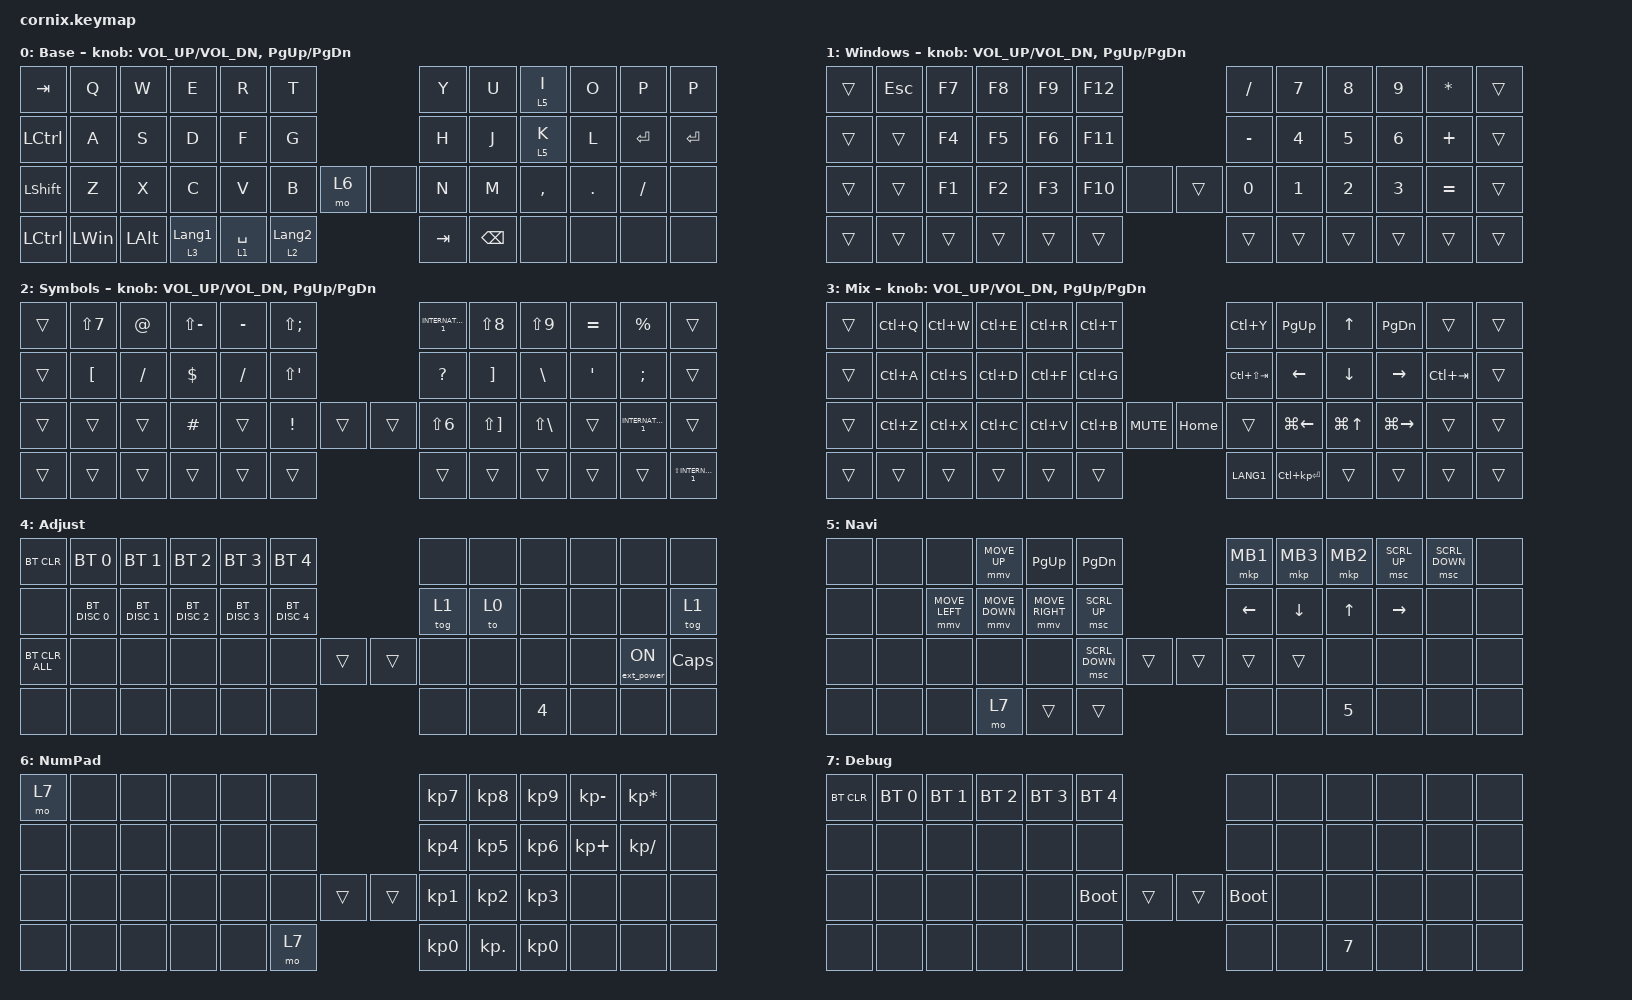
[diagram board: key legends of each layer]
/*
 * Copyright (c) 2020 The ZMK Contributors
 *
 * SPDX-License-Identifier: MIT
 */

#include "includes/cornix54.h"

// tap windows for ctl alt and gui

#define HM_TAPPING_TERM 250
#define HM_TAPPING_REPEAT 210

// quick tapping for shift

#define HM_TAPPING_TERM_FAST 200
#define HM_PRIOR_IDLE 70
#define BASE 0
#define WIN 1
#define LOWER 2
#define RAISE 3
#define ADJUST 4
#define NAVI   5
#define NUM    6
#define DEBUG  7

// https://github.com/urob/zmk-config/tree/main#timeless-homerow-mods

#define KEYS_L LT0 LT1 LT2 LT3 LT4 LT5 LM0 LM1 LM2 LM3 LM4 LM5 LB0 LB1 LB2 LB3 LB4 LB5  // left hand
#define KEYS_R RT0 RT1 RT2 RT3 RT4 RT5 RM0 RM1 RM2 RM3 RM4 RM5 RB0 RB1 RB2 RB3 RB4 RB5  // right hand
#define THUMBS LH1 LH0 RH0 RH1
#define KEYS_T LH1 LH0 RH0 RH1
#define ZMK_POINTING_DEFAULT_SCRL_VAL 15

#include <behaviors.dtsi>
#include <dt-bindings/zmk/bt.h>
#include <dt-bindings/zmk/ext_power.h>
#include <dt-bindings/zmk/keys.h>
#include <dt-bindings/zmk/pointing.h>

/ {
    // Activate ADJUST layer by pressing raise and lower

    behaviors {
        hm_l: homerow_mods_left {
            compatible = "zmk,behavior-hold-tap";
            #binding-cells = <2>;
            bindings = <&kp>, <&kp>;

            flavor = "balanced";
            tapping-term-ms = <HM_TAPPING_TERM>;
            quick-tap-ms = <200>;                // repeat on tap-into-hold
            require-prior-idle-ms = <HM_PRIOR_IDLE>;
            hold-trigger-key-positions = <KEYS_R KEYS_T>;
            hold-trigger-on-release;
        };

        hm_r: homerow_mods_right {
            compatible = "zmk,behavior-hold-tap";
            #binding-cells = <2>;
            bindings = <&kp>, <&kp>;

            flavor = "balanced";
            tapping-term-ms = <HM_TAPPING_TERM>;
            quick-tap-ms = <200>;
            require-prior-idle-ms = <HM_PRIOR_IDLE>;
            hold-trigger-key-positions = <KEYS_L KEYS_T>;
            hold-trigger-on-release;
        };

        // Positional Homerow mods for shift
        // Use faster tapping term and disable some features that may
        // cause false negatives.

        hm_shift_l: hm_shift_l {
            compatible = "zmk,behavior-hold-tap";
            #binding-cells = <2>;
            bindings = <&kp>, <&kp>;

            //flavor = "balanced";

            flavor = "balanced";
            tapping-term-ms = <HM_TAPPING_TERM_FAST>;
            quick-tap-ms = <200>;
            require-prior-idle-ms = <HM_PRIOR_IDLE>;
            hold-trigger-key-positions = <KEYS_R KEYS_T>;
            hold-trigger-on-release;
        };

        hm_shift_r: hm_shift_r {
            compatible = "zmk,behavior-hold-tap";
            #binding-cells = <2>;
            bindings = <&kp>, <&kp>;

            flavor = "balanced";
            tapping-term-ms = <HM_TAPPING_TERM_FAST>;
            quick-tap-ms = <200>;
            require-prior-idle-ms = <HM_PRIOR_IDLE>;
            hold-trigger-key-positions = <KEYS_L KEYS_T>;

            // for quick tapping; shift+~

            hold-trigger-on-release;
        };

        /*
         * Non-Positional Homerow Mods
         * Used for &mm_grescm_gui behavior on left hand.
         *
         * Usage: &hm LSHFT T
         * Tap: T
         * Tap-Tap-Hold: Repeat T
         * Hold: LSHIFT
         */

        hm: homerow_mods {
            compatible = "zmk,behavior-hold-tap";
            #binding-cells = <2>;
            bindings = <&kp>, <&kp>;

            flavor = "balanced";
            tapping-term-ms = <HM_TAPPING_TERM>;
            quick-tap-ms = <200>;
        };

        lt: layer_tap {
            compatible = "zmk,behavior-hold-tap";
            #binding-cells = <2>;
            bindings = <&mo>, <&kp>;

            flavor = "hold-preferred";
            tapping-term-ms = <HM_TAPPING_TERM>;
            quick-tap-ms = <200>;
        };
    };

    conditional_layers {
        compatible = "zmk,conditional-layers";

        adjust_layer {
            if-layers = <3 2>;
            then-layer = <4>;
        };
    };

    combos {
        compatible = "zmk,combos";

        cb_ltm {
            bindings = <&kp ESC>;
            key-positions = <2 4>;
            layers = <0 1>;
        };

        cb_lm {
            bindings = <&kp TAB>;
            key-positions = <14 16>;
            layers = <0 1>;
        };

        cb_enter {
            bindings = <&kp RET>;
            key-positions = <21 19>;
            layers = <0 1>;
        };

        layer3 {
            bindings = <&kp N3>;
            key-positions = <5 6>;
        };

        layer4 {
            bindings = <&kp N4>;
            key-positions = <5 6>;
        };
    };

    keymap {
        compatible = "zmk,keymap";

        default_layer {
            display-name = "Base";

            // ------------------------------------------------------------------------------------------------------------
            // |   `   |  1  |  2  |  3   |  4   |  5   |                   |  6   |  7    |  8    |  9   |   0   |       |
            // |  ESC  |  Q  |  W  |  E   |  R   |  T   |                   |  Y   |  U    |  I    |  O   |   P   | BKSPC |
            // |  TAB  |  A  |  S  |  D   |  F   |  G   |                   |  H   |  J    |  K    |  L   |   ;   |   '   |
            // | SHIFT |  Z  |  X  |  C   |  V   |  B   |  MUTE  |  |       |  N   |  M    |  ,    |  .   |   /   | SHIFT |
            //               | GUI | ALT  | CTRL | LOWER|  ENTER |  | SPACE | RAISE| CTRL  | ALT   | GUI  |

            bindings = <
&kp TAB    &kp Q         &kp W         &kp E             &kp R        &kp T                           &kp Y    &kp U          &lt 5 I    &kp O    &kp P      &kp P
&kp LCTRL  &kp A         &kp S         &kp D             &kp F        &kp G                           &kp H    &kp J          &lt 5 K    &kp L    &kp ENTER  &kp ENTER
&kp LSHFT  &kp Z         &kp X         &kp C             &kp V        &kp B             &mo 6  &none  &kp N    &kp M          &kp COMMA  &kp DOT  &kp SLASH  &none
&kp LCTRL  &kp LEFT_WIN  &kp LEFT_ALT  &lt 3 LANGUAGE_1  &lt 1 SPACE  &lt 2 LANGUAGE_2                &kp TAB  &kp BACKSPACE  &none      &none    &none      &none
            >;

            sensor-bindings = <&inc_dec_kp C_VOL_UP C_VOL_DN &inc_dec_kp PG_UP PG_DN>;
        };

        FUNCTION {
            display-name = "Windows";

            // ------------------------------------------------------------------------------------------------------------
            // |   `   |  1  |  2  |  3   |  4   |  5   |                   |  6   |  7    |  8    |  9   |   0   |       |
            // |  ESC  |  Q  |  W  |  E   |  R   |  T   |                   |  Y   |  U    |  I    |  O   |   P   | BKSPC |
            // |  TAB  |  A  |  S  |  D   |  F   |  G   |                   |  H   |  J    |  K    |  L   |   ;   |   '   |
            // | SHIFT |  Z  |  X  |  C   |  V   |  B   |  MUTE  |  |       |  N   |  M    |  ,    |  .   |   /   | SHIFT |
            //               | GUI | ALT  | CTRL | LOWER|  ENTER |  | SPACE | RAISE| CTRL  | ALT   | GUI  |

            bindings = <
&trans  &kp ESC  &kp F7  &kp F8  &kp F9  &kp F12                 &kp SLASH  &kp N7        &kp N8        &kp N9        &kp ASTRK  &trans
&trans  &trans   &kp F4  &kp F5  &kp F6  &kp F11                 &kp MINUS  &kp NUMBER_4  &kp N5        &kp NUMBER_6  &kp PLUS   &trans
&trans  &trans   &kp F1  &kp F2  &kp F3  &kp F10  &none  &trans  &kp N0     &kp NUMBER_1  &kp NUMBER_2  &kp NUMBER_3  &kp EQUAL  &trans
&trans  &trans   &trans  &trans  &trans  &trans                  &trans     &trans        &trans        &trans        &trans     &trans
            >;

            sensor-bindings = <&inc_dec_kp C_VOL_UP C_VOL_DN &inc_dec_kp PG_UP PG_DN>;
        };

        NUM {
            display-name = "Symbols";

            // TODO: Some binds are waiting for shifted keycode support.
            // -------------------------------
            // |       |  F1 |  F2 |  F3  |  F4  |  F5  |                   |  F6  |  F7   |  F8   |  F9  |  F10  |  F11  |
            // |   `   |  1  |  2  |  3   |  4   |  5   |                   |  6   |  7    |  8    |  9   |   0   |  F12  |
            // |       |  !  |  @  |  #   |  $   |  %   |                   |  ^   |  &    |  *    |  (   |   )   |   |   |
            // |       |  =  |  -  |  +   |  {   |  }   |        |  |       |  [   |  ]    |  ;    |  :   |   \   |       |
            //               |     |      |      |      |        |  |       |      |       |       |      |

            bindings = <
&trans  &kp LS(N7)  &kp AT     &kp LS(MINUS)  &kp MINUS  &kp LS(SEMICOLON)                  &kp INTERNATIONAL_1  &kp LS(NUMBER_8)  &kp LS(N9)         &kp EQUAL  &kp PERCENT          &trans
&trans  &kp LBKT    &kp SLASH  &kp DOLLAR     &kp SLASH  &kp LS(SQT)                        &kp QUESTION         &kp RBKT          &kp BACKSLASH      &kp SQT    &kp SEMICOLON        &trans
&trans  &trans      &trans     &kp HASH       &trans     &kp EXCL           &trans  &trans  &kp LS(N6)           &kp LS(RBKT)      &kp LS(BACKSLASH)  &trans     &kp INTERNATIONAL_1  &trans
&trans  &trans      &trans     &trans         &trans     &trans                             &trans               &trans            &trans             &trans     &trans               &kp LS(INTERNATIONAL_1)
            >;

            sensor-bindings = <&inc_dec_kp C_VOL_UP C_VOL_DN &inc_dec_kp PG_UP PG_DN>;
        };

        ARROW {
            display-name = "Mix";

            // ------------------------------------------------------------------------------------------------------------
            // | BTCLR | BT1  | BT2  |  BT3  |  BT4  |  BT5 |                |      |      |       |      |       |       |
            // |       | INS  | PSCR | GUI   |       |      |                | PGUP |      |   ^   |      |       |       |
            // |       | ALT  | CTRL | SHIFT |       | CAPS |                | PGDN |   <- |   v   |  ->  |  DEL  | BKSPC |
            // |       | UNDO | CUT  | COPY  | PASTE |      |      |  |      |      |      |       |      |       |       |
            //                |      |       |       |      |      |  |      |      |      |       |      |

            bindings = <
&trans     &kp LC(Q)  &kp LC(W)  &kp LC(E)  &kp LC(R)  &kp LC(T)                     &kp LC(Y)         &kp PAGE_UP       &kp UP_ARROW    &kp PAGE_DOWN  &trans       &trans
&trans     &kp LC(A)  &kp LC(S)  &kp LC(D)  &kp LC(F)  &kp LC(G)                     &kp LC(LS(TAB))   &kp LEFT_ARROW    &kp DOWN_ARROW  &kp RIGHT      &kp LC(TAB)  &trans 
&trans     &kp LC(Z)  &kp LC(X)  &kp LC(C)  &kp LC(V)  &kp LC(B)  &kp C_MUTE  &kp HOME  &trans  &kp LG(LEFT)      &kp LG(UP_ARROW)  &kp LG(RIGHT)   &trans         &trans       &trans
&trans     &trans     &trans     &trans     &trans     &kp LANG1                     &kp LC(KP_ENTER)  &trans            &trans          &trans         &trans
            >;

            sensor-bindings = <&inc_dec_kp C_VOL_UP C_VOL_DN &inc_dec_kp PG_UP PG_DN>;
        };

        Adjust_layer {
            display-name = "Adjust";

            // ----------------------------------------------------------------------------------------------------------------------------
            // | BTCLR  |  BT1    |  BT2    |   BT3   |   BT4   |   BT5   |                  |      |      |       |      |       |       |
            // | moDEBUG| RGB_HUD | RGB_HUI | RGB_SAD | RGB_SAI | RGB_EFF |                  |      |      |       |      |       |       |
            // | EXTPWR | RGB_BRD | RGB_BRI |         |         |         |                  |      |      |       |      |       |       |
            // |        |         |         |         |         |         | RGB_TOG | |      |      |      |       |      |       |       |
            //                    |         |         |         |         |         | |      |      |      |       |      |

            bindings = <
&bt BT_CLR      &bt BT_SEL 0   &bt BT_SEL 1   &bt BT_SEL 2   &bt BT_SEL 3   &bt BT_SEL 4                   &none   &none  &none   &none  &none             &none
&none           &bt BT_DISC 0  &bt BT_DISC 1  &bt BT_DISC 2  &bt BT_DISC 3  &bt BT_DISC 4                  &tog 1  &to 0  &none   &none  &none             &tog 1
&bt BT_CLR_ALL  &none          &none          &none          &none          &none          &trans  &trans  &none   &none  &none   &none  &ext_power EP_ON  &kp CAPSLOCK
&none           &none          &none          &none          &none          &none                          &none   &none  &kp N4  &none  &none             &none
            >;
        };

        Navi_layer {
            display-name = "Navi";
            bindings = <
&none  &none  &none           &mmv MOVE_UP    &kp PAGE_UP      &kp PAGE_DOWN                   &mkp MB1  &mkp MB3  &mkp MB2  &msc SCRL_UP  &msc SCRL_DOWN  &none
&none  &none  &mmv MOVE_LEFT  &mmv MOVE_DOWN  &mmv MOVE_RIGHT  &msc SCRL_UP                    &kp LEFT  &kp DOWN  &kp UP    &kp RIGHT     &none           &none
&none  &none  &none           &none           &none            &msc SCRL_DOWN  &trans  &trans  &trans    &trans    &none     &none         &none           &none
&none  &none  &none           &mo 7           &trans           &trans                          &none     &none     &kp N5    &none         &none           &none
            >;
        };

        KeyPad_layer {
            display-name = "NumPad";
            bindings = <
&mo 7  &none  &none  &none  &none  &none                  &kp KP_N7        &kp KP_N8        &kp KP_N9        &kp KP_MINUS  &kp KP_MULTIPLY  &none
&none  &none  &none  &none  &none  &none                  &kp KP_NUMBER_4  &kp KP_NUMBER_5  &kp KP_N6        &kp KP_PLUS   &kp KP_DIVIDE    &none
&none  &none  &none  &none  &none  &none  &trans  &trans  &kp KP_NUMBER_1  &kp KP_NUMBER_2  &kp KP_N3        &none         &none            &none
&none  &none  &none  &none  &none  &mo 7                  &kp KP_N0        &kp KP_DOT       &kp KP_NUMBER_0  &none         &none            &none
            >;
        };

        Debug_layer {
            display-name = "Debug";

            // ----------------------------------------------------------------------------------------------------------------------------
            // | BTCLR  |  BT1    |  BT2    |   BT3   |   BT4   |   BT5   |                  |      |      |       |      |       |       |
            // | EXTPWR | BTCLR | RGB_HUI | RGB_SAD | RGB_SAI | RGB_EFF |                  |      |      |       |      |       |       |
            // |        | RGB_BRD | RGB_BRI |         |         |         |                  |      |      |       |      |       |       |
            // |        |         |         |         |         |         | RGB_TOG | |      |      |      |       |      |       |       |
            //                    |         |         |         |         |         | |      |      |      |       |      |

            bindings = <
&bt BT_CLR  &bt BT_SEL 0  &bt BT_SEL 1  &bt BT_SEL 2  &bt BT_SEL 3  &bt BT_SEL 4                  &none        &none  &none   &none  &none  &none
&none       &none         &none         &none         &none         &none                         &none        &none  &none   &none  &none  &none
&none       &none         &none         &none         &none         &bootloader   &trans  &trans  &bootloader  &none  &none   &none  &none  &none
&none       &none         &none         &none         &none         &none                         &none        &none  &kp N7  &none  &none  &none
            >;
        };
    };
};
